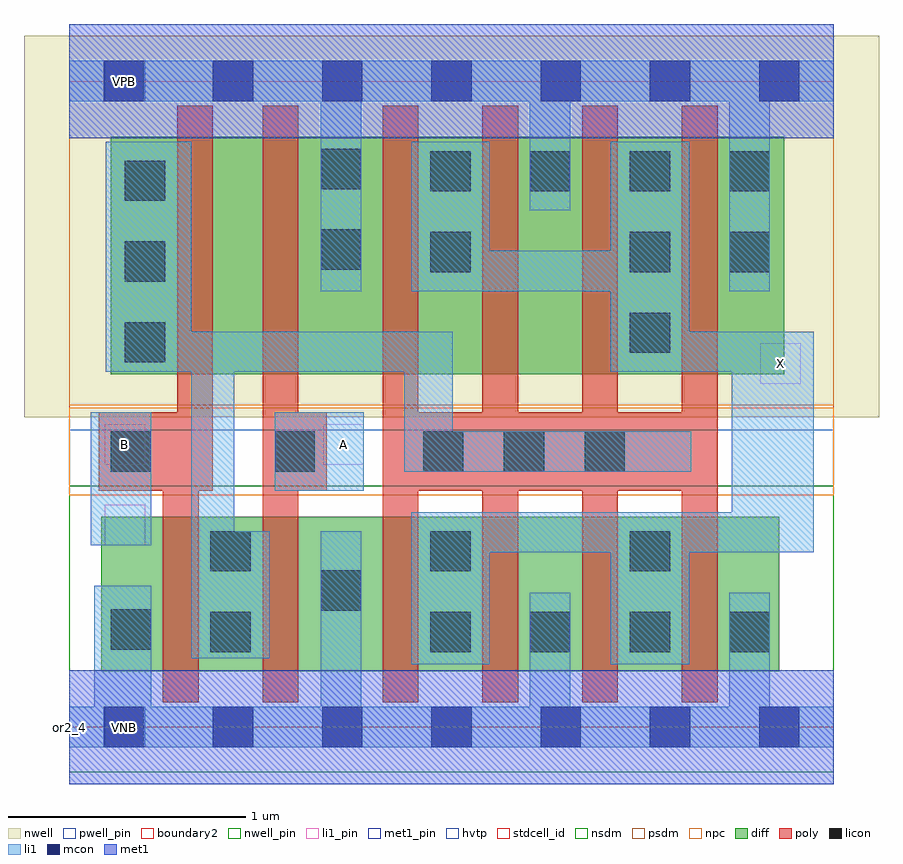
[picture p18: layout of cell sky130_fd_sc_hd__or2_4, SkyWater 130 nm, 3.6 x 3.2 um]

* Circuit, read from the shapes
.subckt sky130_fd_sc_hd__or2_4 A B VGND VNB VPB VPWR X
XM1 n1 B VGND VNB sky130_fd_pr__nfet_01v8 w=0.65 l=0.15
XM2 VGND A n1 VNB sky130_fd_pr__nfet_01v8 w=0.65 l=0.15
XM3 X n1 VGND VNB sky130_fd_pr__nfet_01v8 w=0.65 l=0.15 m=4
XM4 n2 B n1 VPB sky130_fd_pr__pfet_01v8_hvt w=1 l=0.15
XM5 VPWR A n2 VPB sky130_fd_pr__pfet_01v8_hvt w=1 l=0.15
XM6 X n1 VPWR VPB sky130_fd_pr__pfet_01v8_hvt w=1 l=0.15 m=4
.ends

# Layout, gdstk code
import gdstk
lib = gdstk.Library(unit=1e-6, precision=1e-09)
def R(c, l, rs):  # rectangles x0, y0, x1, y1
    for r in rs: c.add(gdstk.rectangle(r[:2], r[2:], *l))
def A(c, l, x, y, w, h, nx, ny, dx, dy):  # array of equal rectangles
    R(c, l, [(x+i*dx, y+j*dy, x+i*dx+w, y+j*dy+h) for i in range(nx) for j in range(ny)])
def P(c, l, *ps):  # polygons
    for p in ps: c.add(gdstk.Polygon(p, *l))
nwell_pin = (64, 16)
nwell = (64, 20)
diff = (65, 20)
poly = (66, 20)
licon = (66, 44)
li1_pin = (67, 16)
li1 = (67, 20)
mcon = (67, 44)
met1_pin = (68, 16)
met1 = (68, 20)
hvtp = (78, 44)
stdcell_id = (81, 4)
nsdm = (93, 44)
psdm = (94, 20)
npc = (95, 20)
pwell_pin = (122, 16)
boundary2 = (236, 0)

sky130_fd_sc_hd__or2_4 = lib.new_cell('sky130_fd_sc_hd__or2_4')
R(sky130_fd_sc_hd__or2_4, nwell_pin, [(0.15,2.635,0.32,2.805)])
R(sky130_fd_sc_hd__or2_4, nwell, [(-0.19,1.305,3.41,2.91)])
R(sky130_fd_sc_hd__or2_4, diff, [(0.135,0.235,2.99,0.885), (0.175,1.485,3.01,2.485)])
P(sky130_fd_sc_hd__or2_4, poly, [(1.085,1.325),(0.965,1.325),(0.965,2.615),(0.815,2.615),(0.815,0.105),(0.965,0.105),(0.965,0.995),(1.085,0.995)],
  [(2.73,2.615),(2.58,2.615),(2.58,1.325),(2.31,1.325),(2.31,2.615),(2.16,2.615),(2.16,1.325),(1.89,1.325),(1.89,2.615),(1.74,2.615),(1.74,1.325),(1.47,1.325),(1.47,2.615),(1.32,2.615),(1.32,0.105),(1.47,0.105),(1.47,0.995),(1.74,0.995),(1.74,0.105),(1.89,0.105),(1.89,0.995),(2.16,0.995),(2.16,0.105),(2.31,0.105),(2.31,0.995),(2.58,0.995),(2.58,0.105),(2.73,0.105)],
  [(0.605,2.615),(0.455,2.615),(0.455,1.325),(0.125,1.325),(0.125,0.995),(0.395,0.995),(0.395,0.105),(0.545,0.105),(0.545,0.995),(0.605,0.995)])
A(sky130_fd_sc_hd__or2_4, licon, 1.52, 0.315, 0.17, 0.17, 4, 2, 0.42, 1.94)
A(sky130_fd_sc_hd__or2_4, licon, 1.49, 1.075, 0.17, 0.17, 3, 1, 0.34, 0)
A(sky130_fd_sc_hd__or2_4, licon, 0.235, 1.535, 0.17, 0.17, 1, 3, 0, 0.34)
R(sky130_fd_sc_hd__or2_4, licon, [(0.595,0.315,0.765,0.485), (0.175,0.325,0.345,0.495), (1.06,0.49,1.23,0.66), (0.595,0.655,0.765,0.825), (1.52,0.655,1.69,0.825), (2.36,0.655,2.53,0.825), (0.175,1.075,0.345,1.245), (0.865,1.075,1.035,1.245), (2.36,1.575,2.53,1.745), (1.52,1.915,1.69,2.085), (2.36,1.915,2.53,2.085), (2.78,1.915,2.95,2.085), (1.06,1.925,1.23,2.095), (1.06,2.265,1.23,2.435)])
R(sky130_fd_sc_hd__or2_4, li1_pin, [(0.15,0.765,0.32,0.935), (0.15,1.105,0.32,1.275), (1.07,1.105,1.24,1.275), (2.91,1.445,3.08,1.615)])
R(sky130_fd_sc_hd__or2_4, li1, [(0.09,0.765,0.345,1.325), (0.865,0.995,1.24,1.325)])
P(sky130_fd_sc_hd__or2_4, li1, [(3.22,2.805),(0,2.805),(0,2.635),(1.06,2.635),(1.06,1.835),(1.23,1.835),(1.23,2.635),(1.94,2.635),(1.94,2.175),(2.11,2.175),(2.11,2.635),(2.78,2.635),(2.78,1.835),(2.95,1.835),(2.95,2.635),(3.22,2.635)],
  [(2.62,1.245),(1.615,1.245),(1.615,1.665),(0.515,1.665),(0.515,2.465),(0.155,2.465),(0.155,1.495),(0.515,1.495),(0.515,0.29),(0.845,0.29),(0.845,0.825),(0.695,0.825),(0.695,1.495),(1.41,1.495),(1.41,1.075),(2.62,1.075)],
  [(3.22,0.085),(2.95,0.085),(2.95,0.565),(2.78,0.565),(2.78,0.085),(2.11,0.085),(2.11,0.565),(1.94,0.565),(1.94,0.085),(1.23,0.085),(1.23,0.825),(1.06,0.825),(1.06,0.085),(0.345,0.085),(0.345,0.595),(0.105,0.595),(0.105,0.085),(0,0.085),(0,-0.085),(3.22,-0.085)],
  [(3.135,1.665),(2.61,1.665),(2.61,2.465),(2.28,2.465),(2.28,2.005),(1.77,2.005),(1.77,2.465),(1.44,2.465),(1.44,1.835),(2.28,1.835),(2.28,1.495),(2.79,1.495),(2.79,0.905),(1.44,0.905),(1.44,0.265),(1.77,0.265),(1.77,0.735),(2.28,0.735),(2.28,0.265),(2.61,0.265),(2.61,0.735),(3.135,0.735)])
A(sky130_fd_sc_hd__or2_4, mcon, 0.145, -0.085, 0.17, 0.17, 7, 2, 0.46, 2.72)
R(sky130_fd_sc_hd__or2_4, met1_pin, [(0.15,-0.085,0.32,0.085), (0.15,2.635,0.32,2.805)])
R(sky130_fd_sc_hd__or2_4, hvtp, [(0,1.25,3.22,2.72)])
R(sky130_fd_sc_hd__or2_4, stdcell_id, [(0,0,3.22,2.72)])
R(sky130_fd_sc_hd__or2_4, nsdm, [(0,-0.19,3.22,1.015)])
R(sky130_fd_sc_hd__or2_4, psdm, [(0,1.355,3.22,2.91)])
R(sky130_fd_sc_hd__or2_4, npc, [(0,0.975,3.22,1.345)])
R(sky130_fd_sc_hd__or2_4, pwell_pin, [(0.15,-0.085,0.32,0.085)])
R(sky130_fd_sc_hd__or2_4, boundary2, [(0,0,3.22,2.72)])
sky130_fd_sc_hd__or2_4.add(gdstk.FlexPath([(0,2.72),(3.22,2.72)], 0.48, ends="flush", simple_path=True, layer=68, datatype=20))  # met1
sky130_fd_sc_hd__or2_4.add(gdstk.FlexPath([(0,0),(3.22,0)], 0.48, ends="flush", simple_path=True, layer=68, datatype=20))  # met1
sky130_fd_sc_hd__or2_4.add(gdstk.Label('X', (2.995,1.53), layer=67, texttype=5))
sky130_fd_sc_hd__or2_4.add(gdstk.Label('A', (1.155,1.19), layer=67, texttype=5))
sky130_fd_sc_hd__or2_4.add(gdstk.Label('B', (0.235,1.19), layer=67, texttype=5))
sky130_fd_sc_hd__or2_4.add(gdstk.Label('VNB', (0.235,0), layer=64, texttype=59))
sky130_fd_sc_hd__or2_4.add(gdstk.Label('VPB', (0.235,2.72), layer=64, texttype=5))
sky130_fd_sc_hd__or2_4.add(gdstk.Label('VGND', (0.23,0), layer=68, texttype=5))
sky130_fd_sc_hd__or2_4.add(gdstk.Label('VPWR', (0.235,2.72), layer=68, texttype=5))
sky130_fd_sc_hd__or2_4.add(gdstk.Label('or2_4', (0,0), layer=83, texttype=44))

lib.write_gds('sky130_fd_sc_hd__or2_4.gds')
